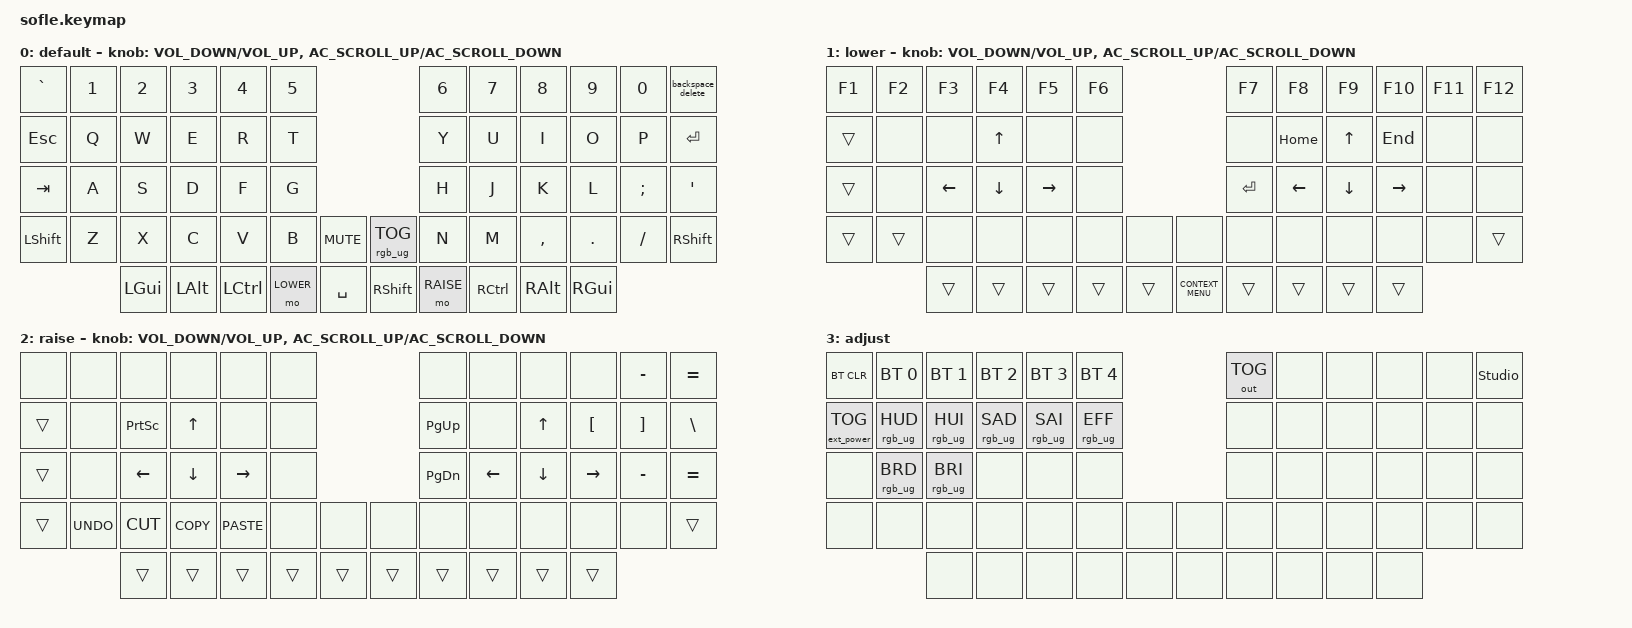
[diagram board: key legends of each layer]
/*
 * Copyright (c) 2020 The ZMK Contributors
 *
 * SPDX-License-Identifier: MIT
 */

#include <behaviors.dtsi>
#include <dt-bindings/zmk/bt.h>
#include <dt-bindings/zmk/ext_power.h>
#include <dt-bindings/zmk/keys.h>
#include <dt-bindings/zmk/outputs.h>
#include <dt-bindings/zmk/rgb.h>

#define BASE 0
#define LOWER 1
#define RAISE 2
#define ADJUST 3

/ {
    // Activate ADJUST layer by pressing raise and lower

    conditional_layers {
        compatible = "zmk,conditional-layers";

        tri_layer {
            if-layers = <1 2>;
            then-layer = <3>;
        };
    };

    behaviors {
        backspace_delete: backspace_delete {
            compatible = "zmk,behavior-mod-morph";
            label = "BACKSPACE_DELETE";
            bindings = <&kp BACKSPACE>, <&kp DELETE>;

            #binding-cells = <0>;
            mods = <(MOD_LSFT|MOD_RSFT)>;
            keep-mods = <(MOD_RSFT)>;
        };
    };

    keymap {
        compatible = "zmk,keymap";

        default_layer {
            display-name = "default";
            bindings = <
&kp GRAVE       &kp NUMBER_1  &kp NUMBER_2  &kp NUMBER_3  &kp NUMBER_4      &kp NUMBER_5                                 &kp NUMBER_6  &kp NUMBER_7       &kp NUMBER_8   &kp NUMBER_9   &kp NUMBER_0  &backspace_delete
&kp ESC         &kp Q         &kp W         &kp E         &kp R             &kp T                                        &kp Y         &kp U              &kp I          &kp O          &kp P         &kp ENTER
&kp TAB         &kp A         &kp S         &kp D         &kp F             &kp G                                        &kp H         &kp J              &kp K          &kp L          &kp SEMI      &kp SQT
&kp LEFT_SHIFT  &kp Z         &kp X         &kp C         &kp V             &kp B         &kp C_MUTE    &rgb_ug RGB_TOG  &kp N         &kp M              &kp COMMA      &kp DOT        &kp FSLH      &kp RIGHT_SHIFT
                              &kp LEFT_GUI  &kp LEFT_ALT  &kp LEFT_CONTROL  &mo LOWER     &kp SPACE     &kp RIGHT_SHIFT  &mo RAISE     &kp RIGHT_CONTROL  &kp RIGHT_ALT  &kp RIGHT_GUI
            >;

            sensor-bindings =
                <&inc_dec_kp C_VOLUME_DOWN C_VOLUME_UP>,
                <&inc_dec_kp C_AC_SCROLL_UP C_AC_SCROLL_DOWN>;
        };

        lower_layer {
            display-name = "lower";
            bindings = <
&kp F1  &kp F2  &kp F3          &kp F4          &kp F5           &kp F6                                &kp F7     &kp F8          &kp F9          &kp F10          &kp F11  &kp F12
&trans  &none   &none           &kp UP_ARROW    &none            &none                                 &none      &kp HOME        &kp UP_ARROW    &kp END          &none    &none
&trans  &none   &kp LEFT_ARROW  &kp DOWN_ARROW  &kp RIGHT_ARROW  &none                                 &kp ENTER  &kp LEFT_ARROW  &kp DOWN_ARROW  &kp RIGHT_ARROW  &none    &none
&trans  &trans  &none           &none           &none            &none   &none     &none               &none      &none           &none           &none            &none    &trans
                &trans          &trans          &trans           &trans  &trans    &kp K_CONTEXT_MENU  &trans     &trans          &trans          &trans
            >;

            sensor-bindings =
                <&inc_dec_kp C_VOLUME_DOWN C_VOLUME_UP>,
                <&inc_dec_kp C_AC_SCROLL_UP C_AC_SCROLL_DOWN>;
        };

        raise_layer {
            display-name = "raise";
            bindings = <
&none   &none       &none      &none         &none        &none                     &none      &none           &none           &none             &kp MINUS          &kp EQUAL
&trans  &none       &kp PSCRN  &kp UP_ARROW  &none        &none                     &kp PG_UP  &none           &kp UP_ARROW    &kp LEFT_BRACKET  &kp RIGHT_BRACKET  &kp BACKSLASH
&trans  &none       &kp LEFT   &kp DOWN      &kp RIGHT    &none                     &kp PG_DN  &kp LEFT_ARROW  &kp DOWN_ARROW  &kp RIGHT_ARROW   &kp MINUS          &kp EQUAL
&trans  &kp K_UNDO  &kp K_CUT  &kp K_COPY    &kp K_PASTE  &none   &none     &none   &none      &none           &none           &none             &none              &trans
                    &trans     &trans        &trans       &trans  &trans    &trans  &trans     &trans          &trans          &trans
            >;

            sensor-bindings =
                <&inc_dec_kp C_VOLUME_DOWN C_VOLUME_UP>,
                <&inc_dec_kp C_AC_SCROLL_UP C_AC_SCROLL_DOWN>;
        };

        adjust_layer {
            display-name = "adjust";
            bindings = <
&bt BT_CLR         &bt BT_SEL 0     &bt BT_SEL 1     &bt BT_SEL 2     &bt BT_SEL 3     &bt BT_SEL 4                     &out OUT_TOG  &none  &none  &none  &none  &studio_unlock
&ext_power EP_TOG  &rgb_ug RGB_HUD  &rgb_ug RGB_HUI  &rgb_ug RGB_SAD  &rgb_ug RGB_SAI  &rgb_ug RGB_EFF                  &none         &none  &none  &none  &none  &none
&none              &rgb_ug RGB_BRD  &rgb_ug RGB_BRI  &none            &none            &none                            &none         &none  &none  &none  &none  &none
&none              &none            &none            &none            &none            &none            &none    &none  &none         &none  &none  &none  &none  &none
                                    &none            &none            &none            &none            &none    &none  &none         &none  &none  &none
            >;
        };

        extra1 { status = "reserved"; };

        extra2 { status = "reserved"; };

        extra3 { status = "reserved"; };

        extra4 { status = "reserved"; };
    };
};
